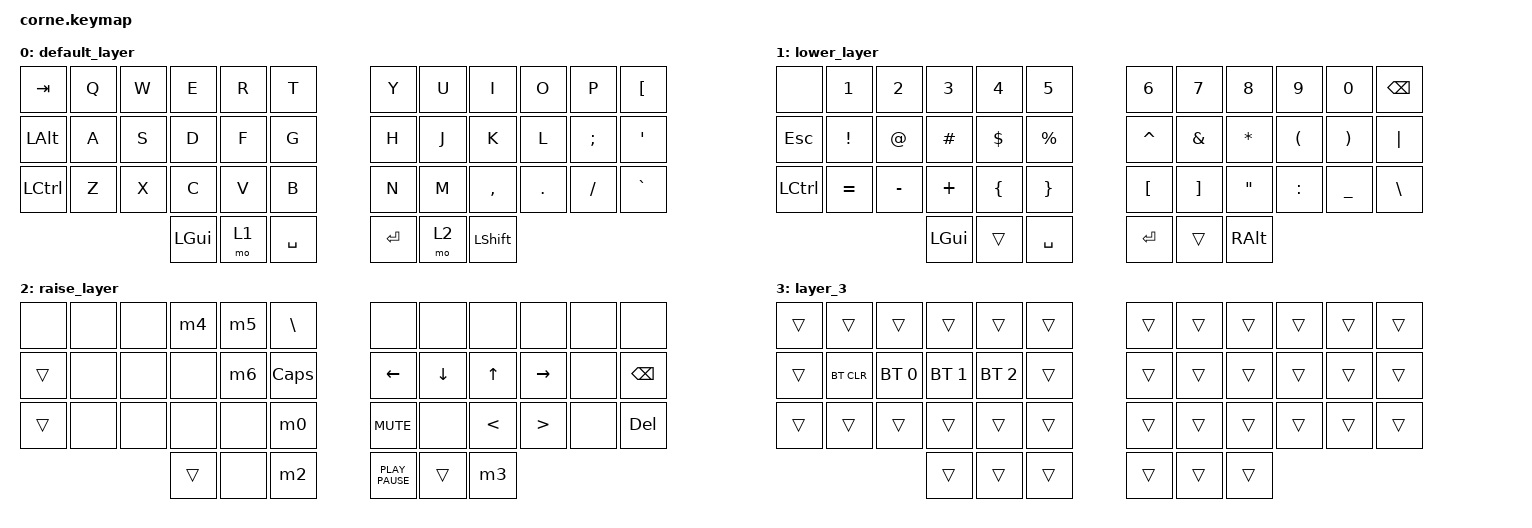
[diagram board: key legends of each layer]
/*
 * Copyright (c) 2020 The ZMK Contributors
 *
 * SPDX-License-Identifier: MIT
 */

#include <behaviors.dtsi>
#include <dt-bindings/zmk/bt.h>
#include <dt-bindings/zmk/keys.h>
#include <dt-bindings/zmk/keys.h>

/ {
    combos {
        compatible = "zmk,combos";

        combo_esc {
            timeout-ms = <50>;
            key-positions = <0 1>;
            bindings = <&kp ESC>;
        };
    };

    behaviors {
        ss_hs_modmorph: ss_hs_modmorph {
            compatible = "zmk,behavior-mod-morph";
            label = "SS_HS_MODMORPH";
            bindings = <&kp M>, <&kp RIGHT_BRACKET>;

            #binding-cells = <0>;
            mods = <(MOD_LSFT|MOD_RSFT)>;
        };

        kh_hs_tapdance: kh_hs_tapdance {
            compatible = "zmk,behavior-tap-dance";
            label = "KH_HS_TAPDANCE";
            #binding-cells = <0>;
            tapping-term-ms = <200>;
            bindings = <&kp LEFT_BRACKET>, <&kp RIGHT_BRACKET>;
        };

        hrm: hrm {
            compatible = "zmk,behavior-hold-tap";
            #binding-cells = <2>;
            flavor = "tap-preferred";
            tapping-term-ms = <200>;
            quick-tap-ms = <200>;
            require-prior-idle-ms = <125>;
            bindings = <&kp>, <&kp>;
        };
    };

    macros {
        m0: consolelog {
            compatible = "zmk,behavior-macro";
            #binding-cells = <0>;
            bindings = <&kp C &kp O &kp N &kp S &kp O &kp L &kp E &kp DOT &kp L &kp O &kp G &kp LPAR &kp RPAR &kp LEFT>;
            label = "CONSOLELOG";
        };

        m2: m2 {
            compatible = "zmk,behavior-macro";
            #binding-cells = <0>;
            bindings = <&kt LCMD &kp SPACE &kt LCMD>;
            label = "M2";
        };

        m3: m3 {
            compatible = "zmk,behavior-macro";
            #binding-cells = <0>;
            bindings = <&kt LCTRL &kt LCMD &kp Q &kt LCMD &kt LCTRL>;
            label = "M3";
        };

        m4: m4 {
            compatible = "zmk,behavior-macro";
            #binding-cells = <0>;
            bindings = <&kt LCMD &kt LSHIFT &kp NUMBER_3 &kt LEFT_SHIFT &kt LCMD>;
            label = "M4";
        };

        m5: m5 {
            compatible = "zmk,behavior-macro";
            #binding-cells = <0>;
            bindings = <&kt LCMD &kt LSHIFT &kp NUMBER_4 &kt LEFT_SHIFT &kt LCMD>;
            label = "M5";
        };

        m6: m6 {
            compatible = "zmk,behavior-macro";
            #binding-cells = <0>;
            bindings = <&kt LCMD &kt LSHIFT &kp N5 &kt LEFT_SHIFT &kt LCMD>;
            label = "M6";
        };
    };

    keymap {
        compatible = "zmk,keymap";

        default_layer {
            // -----------------------------------------------------------------------------------------
            // |  TAB |  Q  |  W  |  E  |  R  |  T  |   |  Y  |  U   |  I  |  O  |  P  | BKSP |
            // | CTRL |  A  |  S  |  D  |  F  |  G  |   |  H  |  J   |  K  |  L  |  ;  |  '   |
            // | SHFT |  Z  |  X  |  C  |  V  |  B  |   |  N  |  M   |  ,  |  .  |  /  | ESC  |
            //                    | GUI | LWR | SPC |   | ENT | RSE  | ALT |

            bindings = <
&kp TAB       &kp Q  &kp W  &kp E     &kp R  &kp T        &kp Y    &kp U  &kp I           &kp O    &kp P     &kp LEFT_BRACKET
&kp LEFT_ALT  &kp A  &kp S  &kp D     &kp F  &kp G        &kp H    &kp J  &kp K           &kp L    &kp SEMI  &kp SQT
&kp LCTRL     &kp Z  &kp X  &kp C     &kp V  &kp B        &kp N    &kp M  &kp COMMA       &kp DOT  &kp FSLH  &kp GRAVE
                            &kp LGUI  &mo 1  &kp SPACE    &kp RET  &mo 2  &kp LEFT_SHIFT
            >;
        };

        lower_layer {
            // -----------------------------------------------------------------------------------------
            // |  TAB |  1  |  2  |  3  |  4  |  5  |   |  6  |  7  |  8  |  9  |  0  | BKSP |
            // | BTCLR| BT1 | BT2 | BT3 | BT4 | BT5 |   | LFT | DWN |  UP | RGT |     |      |
            // | SHFT |     |     |     |     |     |   |     |     |     |     |     |      |
            //                    | GUI |     | SPC |   | ENT |     | ALT |

            bindings = <
&none       &kp N1           &kp N2       &kp N3    &kp N4          &kp N5             &kp N6            &kp N7             &kp N8             &kp N9                &kp N0                 &kp BSPC
&kp ESCAPE  &kp EXCLAMATION  &kp AT_SIGN  &kp HASH  &kp DOLLAR      &kp PERCENT        &kp CARET         &kp AMPERSAND      &kp ASTERISK       &kp LEFT_PARENTHESIS  &kp RIGHT_PARENTHESIS  &kp PIPE
&kp LCTRL   &kp EQUAL        &kp MINUS    &kp PLUS  &kp LEFT_BRACE  &kp RIGHT_BRACE    &kp LEFT_BRACKET  &kp RIGHT_BRACKET  &kp DOUBLE_QUOTES  &kp COLON             &kp UNDERSCORE         &kp BACKSLASH
                                          &kp LGUI  &trans          &kp SPACE          &kp RET           &trans             &kp RALT
            >;
        };

        raise_layer {
            // -----------------------------------------------------------------------------------------
            // |  TAB |  !  |  @  |  #  |  $  |  %  |   |  ^  |  &  |  *  |  (  |  )  | BKSP |
            // | CTRL |     |     |     |     |     |   |  -  |  =  |  [  |  ]  |  \  |  `   |
            // | SHFT |     |     |     |     |     |   |  _  |  +  |  {  |  }  | "|" |  ~   |
            //                    | GUI |     | SPC |   | ENT |     | ALT |

            bindings = <
&none   &none  &none  &m4     &m5    &kp BACKSLASH    &none             &none     &none          &none             &none  &none
&trans  &none  &none  &none   &m6    &kp CAPS         &kp LEFT          &kp DOWN  &kp UP_ARROW   &kp RIGHT         &none  &kp BACKSPACE
&trans  &none  &none  &none   &none  &m0              &kp K_MUTE        &none     &kp LESS_THAN  &kp GREATER_THAN  &none  &kp DELETE
                      &trans  &none  &m2              &kp K_PLAY_PAUSE  &trans    &m3
            >;
        };

        layer_3 {
            bindings = <
&trans  &trans      &trans        &trans        &trans        &trans    &trans  &trans  &trans  &trans  &trans  &trans
&trans  &bt BT_CLR  &bt BT_SEL 0  &bt BT_SEL 1  &bt BT_SEL 2  &trans    &trans  &trans  &trans  &trans  &trans  &trans
&trans  &trans      &trans        &trans        &trans        &trans    &trans  &trans  &trans  &trans  &trans  &trans
                                  &trans        &trans        &trans    &trans  &trans  &trans
            >;
        };
    };
};
